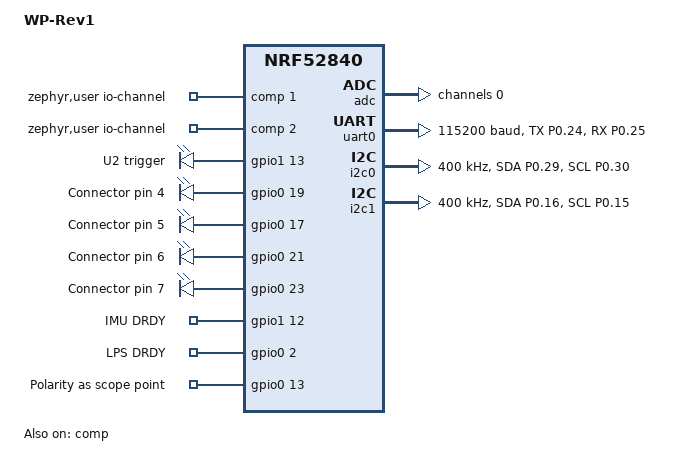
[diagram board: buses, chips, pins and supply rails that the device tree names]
// Copyright (c) 2022 Nordic Semiconductor ASA
// SPDX-License-Identifier: Apache-2.0

/dts-v1/;
#include <nordic/nrf52840_qiaa.dtsi>

/ {
	model = "WP-Rev1";
	compatible = "nordic,wepower,wp-rev1";

	chosen {
        zephyr,console = &uart0;
		zephyr,shell-uart = &uart0;
		//zephyr,uart-mcumgr = &uart0;
		//zephyr,bt-mon-uart = &uart0;
		//zephyr,bt-c2h-uart = &uart0;
		zephyr,sram = &sram0;
		zephyr,flash = &flash0;
		zephyr,code-partition = &slot0_partition;
        zephyr,entropy = &rng;
        zephyr,i2c = &i2c0;
		zephyr,i2c1 = &i2c1;
		nrf,gpio0 = &gpio0;
		nrf,gpio1 = &gpio1;
		nrf,gpiote = &gpiote;
		nrf,comp = &comp;
	};

	zephyr,user {
		io-channels = <&comp 1>, <&comp 2>;
	};
};



&pinctrl {
	uart0_default: uart0_default {
		group1 {
			psels = <NRF_PSEL(UART_TX, 0, 24)>, <NRF_PSEL(UART_RX, 0, 25)>;
		};
	};

	uart0_sleep: uart0_sleep {
		group1 {
			psels = <NRF_PSEL(UART_TX, 0, 24)>, <NRF_PSEL(UART_RX, 0, 25)>;
			//low-power-enable;
		};
	};

	i2c0_default: i2c0_default {
		group1 {
            psels = <NRF_PSEL(TWIM_SDA, 0, 29)>, <NRF_PSEL(TWIM_SCL, 0, 30)>;
		};
	};

	i2c0_sleep: i2c0_sleep {
		group1 {
            psels = <NRF_PSEL(TWIM_SDA, 0, 29)>, <NRF_PSEL(TWIM_SCL, 0, 30)>;
		};
	};

	i2c1_default: i2c1_default {
		group1 {
            psels = <NRF_PSEL(TWIM_SDA, 0, 16)>, <NRF_PSEL(TWIM_SCL, 0, 15)>;
		};
	};

	i2c1_sleep: i2c1_sleep {
		group1 {
            psels = <NRF_PSEL(TWIM_SDA, 0, 16)>, <NRF_PSEL(TWIM_SCL, 0, 15)>;
		};
	};
};

&flash0 {
	partitions {
		compatible = "fixed-partitions";
		#address-cells = <1>;
		#size-cells = <1>;

		boot_partition: partition@0 {
			label = "mcuboot";
			reg = <0x00000000 0x0000C000>;
		};
		slot0_partition: partition@c000 {
			label = "image-0";
			reg = <0x0000C000 0x00067000>;
		};
		slot1_partition: partition@73000 {
			label = "image-1";
			reg = <0x00073000 0x00067000>;
		};
		scratch_partition: partition@da000 {
			label = "image-scratch";
			reg = <0x000da000 0x0001e000>;
		};

		/*
		 * The flash starting at 0x000f8000 and ending at
		 * 0x000fffff is reserved for use by the application.
		 */

		/*
		 * Storage partition will be used by FCB/LittleFS/NVS
		 * if enabled.
		 */
		storage_partition: partition@f8000 {
			label = "storage";
			reg = <0x000f8000 0x00008000>;
		};
	};
};

&adc {
	status = "okay";
	#address-cells = <1>;
	#size-cells = <0>;

	channel@0 {
		reg = <0>;
		zephyr,gain = "ADC_GAIN_1_6";
		zephyr,reference = "ADC_REF_INTERNAL";
		zephyr,acquisition-time = <ADC_ACQ_TIME_DEFAULT>;
		zephyr,input-positive = <NRF_SAADC_AIN1>; /* P0.03 */
		zephyr,resolution = <12>;
	};
};

&comp {
	status = "okay";
};

&gpiote {
	status = "okay";
};

&gpio0 {
	status = "okay";
};

&gpio1 {
	status = "okay";
};

&uart0 {
	compatible = "nordic,nrf-uarte";
	status = "okay";
	current-speed = <115200>;
	pinctrl-0 = <&uart0_default>;
	pinctrl-1 = <&uart0_sleep>;
	pinctrl-names = "default", "sleep";
};

&i2c0 {
	compatible = "nordic,nrf-twim";
	status = "okay";
    clock-frequency = <I2C_BITRATE_FAST>;
	pinctrl-0 = <&i2c0_default>;
	pinctrl-1 = <&i2c0_sleep>;
	pinctrl-names = "default", "sleep";
	zephyr,concat-buf-size = <32>;	
};

&i2c1 {
	compatible = "nordic,nrf-twim";
	status = "okay";
    clock-frequency = <I2C_BITRATE_FAST>;
	pinctrl-0 = <&i2c1_default>;
	pinctrl-1 = <&i2c1_sleep>;
	pinctrl-names = "default", "sleep";
	zephyr,concat-buf-size = <32>;	
};

/{

	gpio_output {
		compatible = "gpio-leds";
		lis_trig: lis_trigger_pin {
			gpios = <&gpio1 13 0x00>;
			label = "U2 trigger";
		};
		connector4: connector_4_pin {
			gpios = <&gpio0 19 0x00>;
			label = "Connector pin 4";
		};
		connector5: connector_5_pin {
			gpios = <&gpio0 17 0x00>;
			label = "Connector pin 5";
		};
		connector6: connector_6_pin {
			gpios = <&gpio0 21 0x00>;
			label = "Connector pin 6";
		};
		connector7: connector_7_pin {
			gpios = <&gpio0 23 0x00>;
			label = "Connector pin 7";
		};
	};

	gpio_input {
		compatible = "gpio-keys";
		imu_drdy: imu_drdy_pin {
			gpios = <&gpio1 12 0x0>;
			label = "IMU DRDY";
		};
		lps_drdy: lps_drdy_pin {
			gpios = <&gpio0 2 GPIO_OPEN_DRAIN>;
			label = "LPS DRDY";
		};
		polarity: polarity_pin {
			gpios = <&gpio0 13 GPIO_OPEN_DRAIN>;
			label = "Polarity as scope point";
		};
		// vex10: vex10_pin {
		// 	gpios = <&gpio0 03 GPIO_OPEN_DRAIN>;
		// 	label = "VEXT10 Pin";
		// };
	};
};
